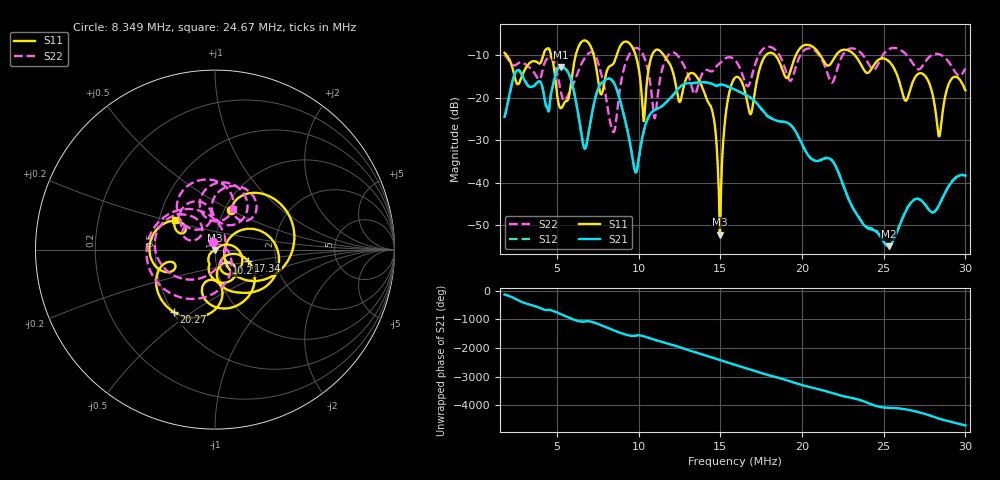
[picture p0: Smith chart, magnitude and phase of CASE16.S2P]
!Agilent Technologies,E5061B,MY49101568,A.02.00
!Date: Wed Mar 01 13:20:58 2023
!Data & Calibration Information:
!Freq	S11:SOLT2(OFF)	S21:SOLT2(OFF)	S12:SOLT2(OFF)	S22:SOLT2(OFF)
# Hz S dB R 50
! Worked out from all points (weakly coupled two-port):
!   1155 points, 1.8 MHz to 30 MHz, reference 50 ohm
!   highest |S21| = -12.83 dB at 5.246 MHz (marker M1); lowest = -54.9 dB at 25.31 MHz (marker M2)
!   lowest |S11| = -52.2 dB at 14.97 MHz (marker M3), VSWR 1.00, Z = 50.1 - j0.234 ohm
!   |S11| at or under -10 dB: 1.916 MHz to 4.165 MHz (2.248 MHz wide, 73.9 % of centre); 11.53 MHz to 17.8 MHz (6.265 MHz wide, 42.7 % of centre); 23.22 MHz to end of sweep (the widest 3 of 8)
!   |S22| runs from -28.1 to -8.1 dB; largest |S21 - S12| = 0.0026
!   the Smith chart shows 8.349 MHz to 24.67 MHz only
!   S11 on the Smith chart (normalised r, x): 8.349 MHz: 1.07, +0.51; 10.21 MHz: 1.12, -0.17; 17.34 MHz: 1.44, -0.19; 20.27 MHz: 0.50, -0.42; 24.67 MHz: 0.61, +0.21
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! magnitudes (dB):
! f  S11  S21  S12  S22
! 1.8 MHz  -9.5  -24.5  -24.5  -10.0
! 2.606 MHz  -16.9  -13.6  -13.5  -12.0
! 4.488 MHz  -8.4  -23.2  -23.3  -10.4
! 5.246 MHz  -22.5  -12.8  -12.8  -18.7
! 6.516 MHz  -6.9  -29.0  -29.0  -12.0
! 7.396 MHz  -12.7  -19.4  -19.5  -10.4
! 8.349 MHz  -12.4  -15.9  -15.8  -27.2
! 9.766 MHz  -9.4  -37.2  -37.1  -8.4
! 10.21 MHz  -20.3  -29.8  -30.0  -9.4
! 11.21 MHz  -8.8  -22.5  -22.5  -18.3
! 14.41 MHz  -22.0  -16.6  -16.7  -13.8
! 14.97 MHz  -52.2  -17.0  -17.0  -12.0
! 15.9 MHz  -15.3  -18.1  -18.2  -11.2
! 16.85 MHz  -23.9  -20.0  -20.1  -16.0
! 17.34 MHz  -14.2  -21.8  -21.9  -10.1
! 20.27 MHz  -7.6  -32.9  -32.9  -8.6
! 20.62 MHz  -8.0  -34.5  -34.5  -8.6
! 24.67 MHz  -11.1  -52.0  -51.9  -12.0
! 25.31 MHz  -11.4  -54.9  -54.9  -8.6
! 27.58 MHz  -15.1  -45.4  -45.4  -11.4
! 28.39 MHz  -29.1  -45.3  -45.2  -9.8
! 30 MHz  -18.3  -38.4  -38.3  -13.2
